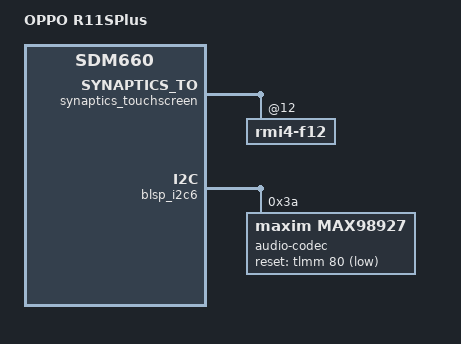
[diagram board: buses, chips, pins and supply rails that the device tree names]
// SPDX-License-Identifier: GPL-2.0-only
/*
* Copyright (c) 2025, XiKoTaSu <3329989998@qq.com>
*/

/dts-v1/;

#include "sdm660-oppo-common.dtsi"

/ {
	model = "OPPO R11SPlus";
	compatible = "oppo,r11splus", "qcom,sdm660";
	chassis-type = "handset";

	aliases {
		serial0 = &blsp1_uart2;
        serial1 = &blsp2_uart1; /* Bluetooth UART */
	};

	chosen {
		#address-cells = <2>;
		#size-cells = <2>;
		ranges;
		
		bootargs = "clk_ignore_unused pd_ignore_unused"; /* Use simpledrm */

		/* stdout-path = "serial0:115200n8"; */

		framebuffer0: framebuffer@9d400000 {
			compatible = "simple-framebuffer";
			reg = <0 0x9d400000 0 0x23000000>;
			width = <1080>;
			height = <2160>;
			stride = <(1080 * 4)>;
			format = "a8r8g8b8";
		};
	};
};

&panel {
    status = "disabled";
	compatible = "mdss,oppo17021samsung-sofeg01-s";
};

&synaptics_touchscreen {
	rmi4-f12@12 {
		reg = <0x12>;
		syna,sensor-type = <1>;
		syna,rezero-wait-ms = <200>;
		syna,clip-x-low = <0>;
		syna,clip-x-high = <1080>;
	    syna,clip-y-low = <0>;
		syna,clip-y-high = <2160>;
	};
};

&blsp_i2c6 {
    status = "okay";
    
    audio-codec@3a {
        compatible = "maxim,max98927";
        reg = <0x3a>;
        #sound-dai-cells = <0>;

        pinctrl-0 = <&speaker_default>;
        pinctrl-names = "default";

        reset-gpios = <&tlmm 80 GPIO_ACTIVE_LOW>;

        vmon-slot-no = <0>;
        imon-slot-no = <0>;
    };
};

&tlmm {
	speaker_default: speaker-active-state {
		pins = "gpio80";
		function = "gpio";
		drive-strength = <2>;
		bias-disable;
		output-high;
	};
};
